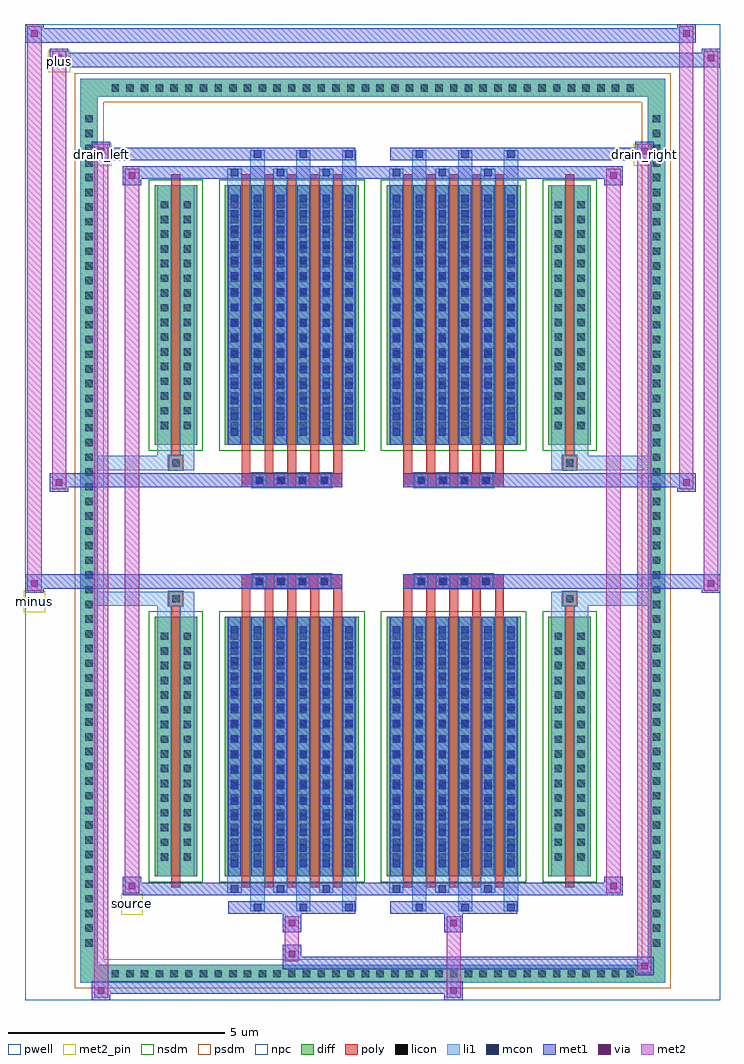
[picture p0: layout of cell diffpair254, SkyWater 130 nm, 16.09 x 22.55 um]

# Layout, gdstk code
import gdstk
lib = gdstk.Library(unit=1e-6, precision=5e-09)
def R(c, l, rs):  # rectangles x0, y0, x1, y1
    for r in rs: c.add(gdstk.rectangle(r[:2], r[2:], *l))
def A(c, l, x, y, w, h, nx, ny, dx, dy):  # array of equal rectangles
    R(c, l, [(x+i*dx, y+j*dy, x+i*dx+w, y+j*dy+h) for i in range(nx) for j in range(ny)])
def P(c, l, *ps):  # polygons
    for p in ps: c.add(gdstk.Polygon(p, *l))
pwell = (64, 44)
diff = (65, 20)
poly = (66, 20)
licon = (66, 44)
li1 = (67, 20)
mcon = (67, 44)
met1 = (68, 20)
via = (68, 44)
met2_pin = (69, 16)
met2 = (69, 20)
nsdm = (93, 44)
psdm = (94, 20)
npc = (95, 20)

diffpair254 = lib.new_cell('diffpair254')
R(diffpair254, pwell, [(-8.03,-10.84,8.03,11.71), (-5.35,-9.03,-0.01,-0.805), (0.01,-9.03,5.35,-0.805), (-5.35,0.805,-0.01,9.03), (0.01,0.805,5.35,9.03)])
A(diffpair254, diff, -6.155, -10.44, 0.41, 0.41, 36, 2, 0.34, 20.47)
A(diffpair254, diff, -6.76, -9.725, 0.41, 0.41, 1, 57, 0, 0.34)
A(diffpair254, diff, 6.35, -9.725, 0.41, 0.41, 1, 57, 0, 0.34)
R(diffpair254, diff, [(-6.155,-10.44,6.155,-10.03), (-6.76,-9.725,-6.35,9.725), (6.35,-9.725,6.76,9.725), (-5.04,-7.985,-4.06,-1.985), (-3.42,-7.985,-0.32,-1.985), (0.32,-7.985,3.42,-1.985), (4.06,-7.985,5.04,-1.985), (-5.04,1.985,-4.06,7.985), (-3.42,1.985,-0.32,7.985), (0.32,1.985,3.42,7.985), (4.06,1.985,5.04,7.985), (-6.155,10.03,6.155,10.44)])
P(diffpair254, diff, [(6.76,10.44),(-6.76,10.44),(-6.76,-10.03),(-6.35,-10.03),(-6.35,10.03),(6.35,10.03),(6.35,-10.03),(-6.35,-10.03),(-6.76,-10.03),(-6.76,-10.44),(6.76,-10.44)])
A(diffpair254, poly, -3.03, -8.235, 0.2, 6.5, 5, 2, 0.53, 9.97)
A(diffpair254, poly, 0.71, -8.235, 0.2, 6.5, 5, 2, 0.53, 9.97)
A(diffpair254, poly, -3.03, -1.735, 0.2, 0.4, 5, 2, 0.53, 3.07)
A(diffpair254, poly, 0.71, -1.735, 0.2, 0.4, 5, 2, 0.53, 3.07)
A(diffpair254, poly, -2.785, -1.335, 0.33, 0.33, 4, 2, 0.5, 2.34)
A(diffpair254, poly, 0.955, -1.335, 0.33, 0.33, 4, 2, 0.5, 2.34)
R(diffpair254, poly, [(-4.65,-8.235,-4.45,-1.735), (4.45,-8.235,4.65,-1.735), (-4.715,-1.735,-4.385,-1.405), (-4.715,-1.735,-4.385,-1.405), (4.385,-1.735,4.715,-1.405), (4.385,-1.735,4.715,-1.405), (-3.03,-1.335,-0.71,-1.005), (0.71,-1.335,3.03,-1.005), (-3.03,1.005,-0.71,1.335), (0.71,1.005,3.03,1.335), (-4.715,1.405,-4.385,1.735), (-4.715,1.405,-4.385,1.735), (4.385,1.405,4.715,1.735), (4.385,1.405,4.715,1.735), (-4.65,1.735,-4.45,8.235), (4.45,1.735,4.65,8.235)])
A(diffpair254, licon, -6.035, -10.32, 0.17, 0.17, 36, 2, 0.34, 20.47)
A(diffpair254, licon, -6.64, -9.605, 0.17, 0.17, 1, 57, 0, 0.34)
A(diffpair254, licon, 6.47, -9.605, 0.17, 0.17, 1, 57, 0, 0.34)
A(diffpair254, licon, -4.9, -7.62, 0.17, 0.17, 1, 16, 0, 0.34)
A(diffpair254, licon, -4.37, -7.62, 0.17, 0.17, 1, 16, 0, 0.34)
A(diffpair254, licon, -3.28, -7.62, 0.17, 0.17, 6, 16, 0.53, 0.34)
A(diffpair254, licon, 0.46, -7.62, 0.17, 0.17, 6, 16, 0.53, 0.34)
A(diffpair254, licon, 4.2, -7.62, 0.17, 0.17, 1, 16, 0, 0.34)
A(diffpair254, licon, 4.73, -7.62, 0.17, 0.17, 1, 16, 0, 0.34)
A(diffpair254, licon, -2.705, -1.255, 0.17, 0.17, 4, 2, 0.5, 2.34)
A(diffpair254, licon, 1.035, -1.255, 0.17, 0.17, 4, 2, 0.5, 2.34)
A(diffpair254, licon, -4.9, 2.35, 0.17, 0.17, 1, 16, 0, 0.34)
A(diffpair254, licon, -4.37, 2.35, 0.17, 0.17, 1, 16, 0, 0.34)
A(diffpair254, licon, -3.28, 2.35, 0.17, 0.17, 6, 16, 0.53, 0.34)
A(diffpair254, licon, 0.46, 2.35, 0.17, 0.17, 6, 16, 0.53, 0.34)
A(diffpair254, licon, 4.2, 2.35, 0.17, 0.17, 1, 16, 0, 0.34)
A(diffpair254, licon, 4.73, 2.35, 0.17, 0.17, 1, 16, 0, 0.34)
R(diffpair254, licon, [(-4.635,-1.655,-4.465,-1.485), (4.465,-1.655,4.635,-1.485), (-4.635,1.485,-4.465,1.655), (4.465,1.485,4.635,1.655)])
A(diffpair254, li1, -6.115, -10.4, 0.33, 0.33, 36, 2, 0.34, 20.47)
A(diffpair254, li1, -6.72, -9.685, 0.33, 0.33, 1, 57, 0, 0.34)
A(diffpair254, li1, 6.39, -9.685, 0.33, 0.33, 1, 57, 0, 0.34)
A(diffpair254, li1, -2.83, -8.79, 0.33, 0.805, 3, 2, 1.06, 16.775)
A(diffpair254, li1, -2.75, -8.79, 0.17, 0.17, 3, 2, 1.06, 17.41)
A(diffpair254, li1, 0.91, -8.79, 0.33, 0.805, 3, 2, 1.06, 16.775)
A(diffpair254, li1, 0.99, -8.79, 0.17, 0.17, 3, 2, 1.06, 17.41)
A(diffpair254, li1, -3.36, -8.36, 0.33, 0.375, 3, 2, 1.06, 16.345)
A(diffpair254, li1, -3.28, -8.36, 0.17, 0.17, 3, 2, 1.06, 16.55)
A(diffpair254, li1, 0.38, -8.36, 0.33, 0.375, 3, 2, 1.06, 16.345)
A(diffpair254, li1, 0.46, -8.36, 0.17, 0.17, 3, 2, 1.06, 16.55)
A(diffpair254, li1, -3.36, -7.985, 0.33, 6, 6, 2, 0.53, 9.97)
A(diffpair254, li1, 0.38, -7.985, 0.33, 6, 6, 2, 0.53, 9.97)
A(diffpair254, li1, -3.28, -7.77, 0.17, 0.17, 6, 16, 0.53, 0.36)
A(diffpair254, li1, -3.28, -7.77, 0.17, 5.57, 6, 2, 0.53, 9.97)
A(diffpair254, li1, 0.46, -7.77, 0.17, 0.17, 6, 16, 0.53, 0.36)
A(diffpair254, li1, 0.46, -7.77, 0.17, 5.57, 6, 2, 0.53, 9.97)
A(diffpair254, li1, -4.98, -7.7, 0.33, 0.33, 1, 16, 0, 0.34)
A(diffpair254, li1, -4.45, -7.7, 0.33, 0.33, 1, 16, 0, 0.34)
A(diffpair254, li1, -3.36, -7.7, 0.33, 0.33, 6, 16, 0.53, 0.34)
A(diffpair254, li1, 0.38, -7.7, 0.33, 0.33, 6, 16, 0.53, 0.34)
A(diffpair254, li1, 4.12, -7.7, 0.33, 0.33, 1, 16, 0, 0.34)
A(diffpair254, li1, 4.65, -7.7, 0.33, 0.33, 1, 16, 0, 0.34)
A(diffpair254, li1, -2.785, -1.335, 0.33, 0.33, 4, 2, 0.5, 2.34)
A(diffpair254, li1, 0.955, -1.335, 0.33, 0.33, 4, 2, 0.5, 2.34)
A(diffpair254, li1, -3.28, 2.2, 0.17, 0.17, 6, 16, 0.53, 0.36)
A(diffpair254, li1, 0.46, 2.2, 0.17, 0.17, 6, 16, 0.53, 0.36)
A(diffpair254, li1, -4.98, 2.27, 0.33, 0.33, 1, 16, 0, 0.34)
A(diffpair254, li1, -4.45, 2.27, 0.33, 0.33, 1, 16, 0, 0.34)
A(diffpair254, li1, -3.36, 2.27, 0.33, 0.33, 6, 16, 0.53, 0.34)
A(diffpair254, li1, 0.38, 2.27, 0.33, 0.33, 6, 16, 0.53, 0.34)
A(diffpair254, li1, 4.12, 2.27, 0.33, 0.33, 1, 16, 0, 0.34)
A(diffpair254, li1, 4.65, 2.27, 0.33, 0.33, 1, 16, 0, 0.34)
R(diffpair254, li1, [(-6.76,-10.44,-6.35,-10.03), (-6.76,-10.44,-6.35,-10.03), (-6.35,-10.44,6.35,-10.03), (6.35,-10.44,6.76,-10.03), (6.35,-10.44,6.76,-10.03), (-6.76,-10.03,-6.35,10.03), (6.35,-10.03,6.76,10.03), (-4.98,-7.985,-4.65,-1.985), (-4.45,-7.985,-4.12,-1.985), (4.12,-7.985,4.45,-1.985), (4.65,-7.985,4.98,-1.985), (-4.98,-1.985,-4.65,-1.405), (-4.45,-1.985,-4.12,-1.405), (4.12,-1.985,4.45,-1.405), (4.65,-1.985,4.98,-1.405), (-6.76,-1.735,-4.715,-1.405), (-4.98,-1.735,-4.715,-1.405), (-4.715,-1.735,-4.385,-1.405), (-4.385,-1.735,-4.12,-1.405), (4.12,-1.735,4.385,-1.405), (4.385,-1.735,4.715,-1.405), (4.385,-1.735,6.76,-1.405), (4.715,-1.735,4.98,-1.405), (-6.76,1.405,-4.715,1.735), (-4.98,1.405,-4.715,1.735), (-4.98,1.405,-4.65,1.985), (-4.715,1.405,-4.385,1.735), (-4.45,1.405,-4.12,1.985), (-4.385,1.405,-4.12,1.735), (4.12,1.405,4.385,1.735), (4.12,1.405,4.45,1.985), (4.385,1.405,4.715,1.735), (4.385,1.405,6.76,1.735), (4.65,1.405,4.98,1.985), (4.715,1.405,4.98,1.735), (-4.98,1.985,-4.65,7.985), (-4.45,1.985,-4.12,7.985), (4.12,1.985,4.45,7.985), (4.65,1.985,4.98,7.985), (-6.76,10.03,-6.35,10.44), (-6.76,10.03,-6.35,10.44), (-6.35,10.03,6.35,10.44), (6.35,10.03,6.76,10.44), (6.35,10.03,6.76,10.44)])
A(diffpair254, mcon, -2.75, -8.79, 0.17, 0.17, 3, 2, 1.06, 17.41)
A(diffpair254, mcon, 0.99, -8.79, 0.17, 0.17, 3, 2, 1.06, 17.41)
A(diffpair254, mcon, -3.28, -8.36, 0.17, 0.17, 3, 2, 1.06, 16.55)
A(diffpair254, mcon, 0.46, -8.36, 0.17, 0.17, 3, 2, 1.06, 16.55)
A(diffpair254, mcon, -3.28, -7.77, 0.17, 0.17, 6, 16, 0.53, 0.36)
A(diffpair254, mcon, 0.46, -7.77, 0.17, 0.17, 6, 16, 0.53, 0.36)
A(diffpair254, mcon, -2.705, -1.255, 0.17, 0.17, 4, 2, 0.5, 2.34)
A(diffpair254, mcon, 1.035, -1.255, 0.17, 0.17, 4, 2, 0.5, 2.34)
A(diffpair254, mcon, -3.28, 2.2, 0.17, 0.17, 6, 16, 0.53, 0.36)
A(diffpair254, mcon, 0.46, 2.2, 0.17, 0.17, 6, 16, 0.53, 0.36)
A(diffpair254, met1, -2.81, -8.85, 0.29, 0.29, 3, 2, 1.06, 17.41)
A(diffpair254, met1, 0.93, -8.85, 0.29, 0.29, 3, 2, 1.06, 17.41)
A(diffpair254, met1, -3.34, -8.42, 0.29, 0.29, 3, 2, 1.06, 16.55)
A(diffpair254, met1, 0.4, -8.42, 0.29, 0.29, 3, 2, 1.06, 16.55)
A(diffpair254, met1, -3.34, -7.985, 0.29, 6, 6, 2, 0.53, 9.97)
A(diffpair254, met1, 0.4, -7.985, 0.29, 6, 6, 2, 0.53, 9.97)
A(diffpair254, met1, -3.34, -7.83, 0.29, 0.29, 6, 16, 0.53, 0.36)
A(diffpair254, met1, 0.4, -7.83, 0.29, 0.29, 6, 16, 0.53, 0.36)
A(diffpair254, met1, -2.765, -1.315, 0.29, 0.29, 4, 2, 0.5, 2.34)
A(diffpair254, met1, 0.975, -1.315, 0.29, 0.29, 4, 2, 0.5, 2.34)
A(diffpair254, met1, -3.34, 2.14, 0.29, 0.29, 6, 16, 0.53, 0.36)
A(diffpair254, met1, 0.4, 2.14, 0.29, 0.29, 6, 16, 0.53, 0.36)
R(diffpair254, met1, [(-6.49,-10.84,-6.06,-10.41), (1.655,-10.84,2.085,-10.41), (-6.49,-10.7,2.085,-10.41), (6.06,-10.27,6.49,-9.84), (-2.085,-10.13,6.49,-9.84), (-2.085,-9.99,-1.655,-9.56), (-2.085,-9.28,-1.655,-8.85), (1.655,-9.28,2.085,-8.85), (-3.34,-8.85,-0.4,-8.56), (0.4,-8.85,3.34,-8.56), (-5.78,-8.42,-5.35,-7.99), (-5.78,-8.42,-3.34,-8.13), (-3.34,-8.42,-0.4,-8.13), (-0.4,-8.42,0.4,-8.13), (0.4,-8.42,3.34,-8.13), (3.34,-8.42,5.78,-8.13), (5.35,-8.42,5.78,-7.99), (-8.03,-1.435,-7.6,-1.005), (7.6,-1.435,8.03,-1.005), (-8.03,-1.335,-0.71,-1.005), (-3.03,-1.335,-0.71,-1.005), (0.71,-1.335,3.03,-1.005), (0.71,-1.335,8.03,-1.005), (-7.46,0.905,-7.03,1.335), (7.03,0.905,7.46,1.335), (-7.46,1.005,-3.03,1.335), (-3.03,1.005,-0.71,1.335), (0.71,1.005,3.03,1.335), (3.03,1.005,7.46,1.335), (-5.78,7.99,-5.35,8.42), (5.35,7.99,5.78,8.42), (-5.78,8.13,-3.34,8.42), (-3.34,8.13,-0.4,8.42), (-0.4,8.13,0.4,8.42), (0.4,8.13,3.34,8.42), (3.34,8.13,5.78,8.42), (-6.49,8.56,-6.06,8.99), (-6.49,8.56,-3.34,8.85), (-3.34,8.56,-0.4,8.85), (0.4,8.56,3.34,8.85), (3.34,8.56,6.49,8.85), (6.06,8.56,6.49,8.99), (-7.46,10.71,-7.03,11.14), (-7.46,10.71,-5.35,11.04), (-5.35,10.71,5.35,11.04), (5.35,10.71,8.03,11.04), (7.6,10.71,8.03,11.14), (-8.03,11.28,-7.6,11.71), (-8.03,11.28,-5.35,11.61), (-5.35,11.28,5.35,11.61), (5.35,11.28,7.46,11.61), (7.03,11.28,7.46,11.71)])
R(diffpair254, via, [(-6.35,-10.7,-6.2,-10.55), (1.795,-10.7,1.945,-10.55), (6.2,-10.13,6.35,-9.98), (-1.945,-9.85,-1.795,-9.7), (-1.945,-9.14,-1.795,-8.99), (1.795,-9.14,1.945,-8.99), (-5.64,-8.28,-5.49,-8.13), (5.49,-8.28,5.64,-8.13), (-7.89,-1.295,-7.74,-1.145), (7.74,-1.295,7.89,-1.145), (-7.32,1.045,-7.17,1.195), (7.17,1.045,7.32,1.195), (-5.64,8.13,-5.49,8.28), (5.49,8.13,5.64,8.28), (-6.35,8.7,-6.2,8.85), (6.2,8.7,6.35,8.85), (-7.32,10.85,-7.17,11), (7.74,10.85,7.89,11), (-7.89,11.42,-7.74,11.57), (7.17,11.42,7.32,11.57)])
R(diffpair254, met2_pin, [(-5.815,-8.87,-5.315,-8.37), (-8.065,-1.885,-7.565,-1.385), (-6.525,8.44,-6.025,8.94), (6.025,8.44,6.525,8.94), (-7.495,10.59,-6.995,11.09)])
R(diffpair254, met2, [(-6.44,-10.79,-6.11,-10.46), (-6.44,-10.79,-6.11,8.94), (1.705,-10.79,2.035,-10.46), (1.705,-10.46,2.035,-9.23), (6.11,-10.22,6.44,-9.89), (6.11,-10.22,6.44,8.94), (-2.035,-9.94,-1.705,-9.61), (-2.035,-9.61,-1.705,-9.23), (-2.035,-9.23,-1.705,-8.9), (1.705,-9.23,2.035,-8.9), (-5.73,-8.37,-5.4,-8.04), (-5.73,-8.37,-5.4,8.37), (5.4,-8.37,5.73,-8.04), (5.4,-8.37,5.73,8.37), (-7.98,-1.385,-7.65,-1.055), (-7.98,-1.385,-7.65,11.66), (7.65,-1.385,7.98,-1.055), (7.65,-1.385,7.98,11.09), (-7.41,0.955,-7.08,1.285), (-7.41,0.955,-7.08,11.09), (7.08,0.955,7.41,1.285), (7.08,0.955,7.41,11.66), (-5.73,8.04,-5.4,8.37), (5.4,8.04,5.73,8.37), (-6.44,8.61,-6.11,8.94), (6.11,8.61,6.44,8.94), (-7.41,10.76,-7.08,11.09), (7.65,10.76,7.98,11.09), (-7.98,11.33,-7.65,11.66), (7.08,11.33,7.41,11.66)])
P(diffpair254, met2, [(7.98,-1.385),(7.98,-1.385),(7.98,-1.055),(7.98,-1.055)],
  [(7.98,10.76),(7.98,10.76),(7.98,11.09),(7.98,11.09)],
  [(-7.65,-1.385),(-7.65,-1.385),(-7.65,-1.055),(-7.65,-1.055)],
  [(-7.65,11.33),(-7.65,11.33),(-7.65,11.66),(-7.65,11.66)],
  [(7.41,0.955),(7.41,0.955),(7.41,1.285),(7.41,1.285)],
  [(7.41,11.33),(7.41,11.33),(7.41,11.66),(7.41,11.66)],
  [(-7.08,0.955),(-7.08,0.955),(-7.08,1.285),(-7.08,1.285)],
  [(-7.08,10.76),(-7.08,10.76),(-7.08,11.09),(-7.08,11.09)],
  [(-6.11,-10.79),(-6.11,-10.79),(-6.11,-10.46),(-6.11,-10.46)],
  [(-6.11,8.61),(-6.11,8.61),(-6.11,8.94),(-6.11,8.94)],
  [(6.44,-10.22),(6.44,-10.22),(6.44,-9.89),(6.44,-9.89)],
  [(6.44,8.61),(6.44,8.61),(6.44,8.94),(6.44,8.94)],
  [(-5.4,-8.37),(-5.4,-8.37),(-5.4,-8.04),(-5.4,-8.04)],
  [(-5.4,8.04),(-5.4,8.04),(-5.4,8.37),(-5.4,8.37)],
  [(5.73,-8.37),(5.73,-8.37),(5.73,-8.04),(5.73,-8.04)],
  [(5.73,8.04),(5.73,8.04),(5.73,8.37),(5.73,8.37)])
R(diffpair254, nsdm, [(-5.17,-8.115,-3.93,-1.855), (-3.55,-8.115,-0.19,-1.855), (0.19,-8.115,3.55,-1.855), (3.93,-8.115,5.17,-1.855), (-5.17,1.855,-3.93,8.115), (-3.55,1.855,-0.19,8.115), (0.19,1.855,3.55,8.115), (3.93,1.855,5.17,8.115)])
P(diffpair254, psdm, [(6.89,10.57),(-6.89,10.57),(-6.89,-9.9),(-6.22,-9.9),(-6.22,9.9),(6.22,9.9),(6.22,-9.9),(-6.22,-9.9),(-6.89,-9.9),(-6.89,-10.57),(6.89,-10.57)])
A(diffpair254, npc, -2.805, -1.355, 0.37, 0.37, 4, 2, 0.5, 2.34)
A(diffpair254, npc, 0.935, -1.355, 0.37, 0.37, 4, 2, 0.5, 2.34)
R(diffpair254, npc, [(-4.735,-1.755,-4.365,-1.385), (4.365,-1.755,4.735,-1.385), (-2.805,-1.355,-1.935,-0.985), (-2.805,-1.355,-1.935,-0.985), (-2.305,-1.355,-1.435,-0.985), (-2.305,-1.355,-1.435,-0.985), (-1.805,-1.355,-0.935,-0.985), (-1.805,-1.355,-0.935,-0.985), (0.935,-1.355,1.805,-0.985), (0.935,-1.355,1.805,-0.985), (1.435,-1.355,2.305,-0.985), (1.435,-1.355,2.305,-0.985), (1.935,-1.355,2.805,-0.985), (1.935,-1.355,2.805,-0.985), (-2.805,0.985,-1.935,1.355), (-2.805,0.985,-1.935,1.355), (-2.305,0.985,-1.435,1.355), (-2.305,0.985,-1.435,1.355), (-1.805,0.985,-0.935,1.355), (-1.805,0.985,-0.935,1.355), (0.935,0.985,1.805,1.355), (0.935,0.985,1.805,1.355), (1.435,0.985,2.305,1.355), (1.435,0.985,2.305,1.355), (1.935,0.985,2.805,1.355), (1.935,0.985,2.805,1.355), (-4.735,1.385,-4.365,1.755), (4.365,1.385,4.735,1.755)])
diffpair254.add(gdstk.Label('minus', (-7.815,-1.635), layer=69, texttype=5))
diffpair254.add(gdstk.Label('drain_right', (6.275,8.69), layer=69, texttype=5))
diffpair254.add(gdstk.Label('drain_left', (-6.275,8.69), layer=69, texttype=5))
diffpair254.add(gdstk.Label('source', (-5.565,-8.62), layer=69, texttype=5))
diffpair254.add(gdstk.Label('plus', (-7.245,10.84), layer=69, texttype=5))

lib.write_gds('diffpair254.gds')
